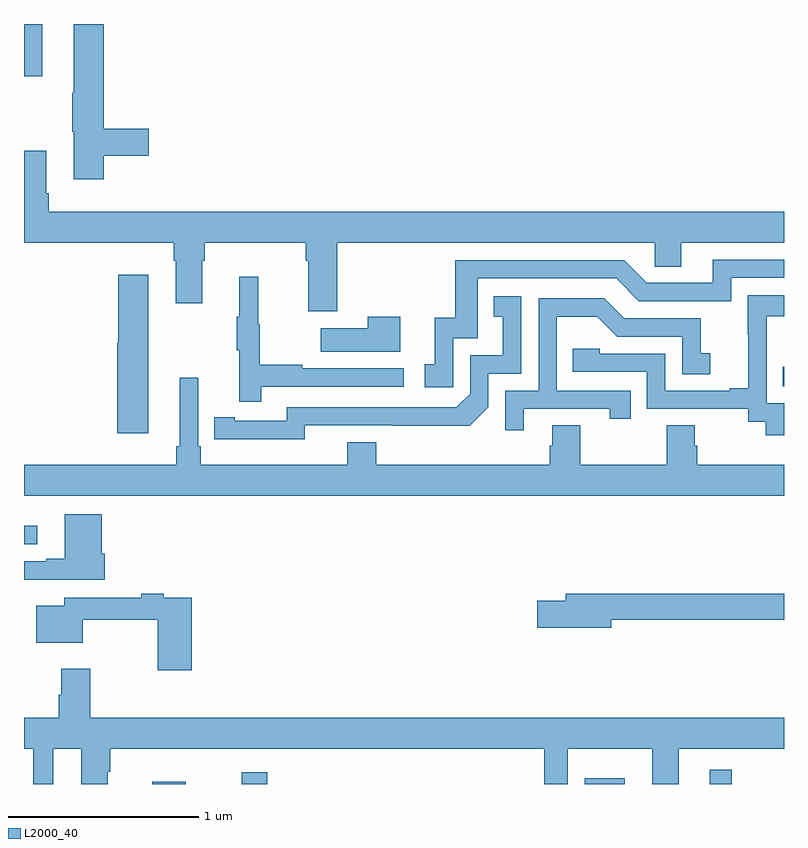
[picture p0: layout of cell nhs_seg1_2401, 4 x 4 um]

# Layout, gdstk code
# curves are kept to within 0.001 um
import gdstk
lib = gdstk.Library(unit=1e-6, precision=1e-09)
def R(c, l, rs):  # rectangles x0, y0, x1, y1
    for r in rs: c.add(gdstk.rectangle(r[:2], r[2:], *l))
def P(c, l, *ps):  # polygons
    for p in ps: c.add(gdstk.Polygon(p, *l))
L2000_40 = (2000, 40)

nhs_seg1_2401 = lib.new_cell('nhs_seg1_2401')
R(nhs_seg1_2401, L2000_40, [(241.676,566.199,241.852,566.212), (242.146,566.199,242.281,566.26), (243.95,566.199,244.162,566.23), (244.608,566.199,244.724,566.275), (241,567.462,241.069,567.559), (244.993,568.293,245,568.394), (241,569.925,241.096,570.199)])
P(nhs_seg1_2401, L2000_40, [(241.421,569.506),(241.657,569.506),(241.657,569.648),(241.421,569.648),(241.421,570.199),(241.262,570.199),(241.262,569.837),(241.255,569.837),(241.255,569.631),(241.262,569.631),(241.262,569.382),(241.421,569.382)],
  [(242.648,569.048),(244.32,569.048),(244.32,568.921),(244.459,568.921),(244.459,569.048),(245,569.048),(245,569.212),(241.13,569.212),(241.13,569.308),(241.117,569.308),(241.117,569.533),(241,569.533),(241,569.048),(241.787,569.048),(241.787,568.952),(241.799,568.952),(241.799,568.728),(241.939,568.728),(241.939,568.952),(241.952,568.952),(241.952,569.048),(242.483,569.048),(242.483,568.952),(242.495,568.952),(242.495,568.686),(242.648,568.686)],
  [(243.258,568.545),(243.387,568.545),(243.387,568.86),(244.116,568.86),(244.236,568.74),(244.722,568.74),(244.722,568.863),(245,568.863),(245,568.959),(244.625,568.959),(244.625,568.836),(244.278,568.836),(244.158,568.956),(243.271,568.956),(243.271,568.654),(243.161,568.654),(243.161,568.407),(243.108,568.407),(243.108,568.287),(243.258,568.287)],
  [(241.654,568.879),(241.496,568.879),(241.496,568.521),(241.49,568.521),(241.49,568.044),(241.654,568.044)],
  [(242.249,568.29),(242.998,568.29),(242.998,568.386),(242.465,568.386),(242.465,568.406),(242.242,568.406),(242.242,568.62),(242.234,568.62),(242.234,568.87),(242.132,568.87),(242.132,568.657),(242.121,568.657),(242.121,568.483),(242.132,568.483),(242.132,568.212),(242.249,568.212)],
  [(245,568.203),(244.908,568.203),(244.908,568.433),(244.91,568.433),(244.91,568.661),(245,568.661),(245,568.771),(244.81,568.771),(244.81,568.565),(244.811,568.565),(244.811,568.282),(244.715,568.282),(244.715,568.269),(244.374,568.269),(244.374,568.464),(244.029,568.464),(244.029,568.491),(243.889,568.491),(243.889,568.368),(244.278,568.368),(244.278,568.173),(244.812,568.173),(244.812,568.105),(244.905,568.105),(244.905,568.035),(245,568.035)],
  [(242.478,568.086),(243.346,568.085),(243.444,568.182),(243.444,568.359),(243.618,568.359),(243.618,568.765),(243.472,568.765),(243.472,568.659),(243.521,568.659),(243.521,568.455),(243.348,568.455),(243.348,568.254),(243.276,568.182),(242.382,568.182),(242.382,568.11),(242.11,568.11),(242.11,568.13),(242.002,568.13),(242.002,568.014),(242.478,568.013)],
  [(243.631,568.173),(244.082,568.173),(244.082,568.122),(244.193,568.122),(244.193,568.269),(243.804,568.269),(243.804,568.658),(244.018,568.658),(244.122,568.554),(244.464,568.554),(244.464,568.356),(244.612,568.356),(244.612,568.465),(244.563,568.465),(244.563,568.65),(244.159,568.65),(244.054,568.755),(243.708,568.755),(243.708,568.269),(243.534,568.269),(243.534,568.062),(243.631,568.062)],
  [(242.98,568.657),(242.81,568.657),(242.81,568.597),(242.561,568.597),(242.561,568.475),(242.98,568.475)],
  [(245,567.88),(244.544,567.88),(244.544,567.978),(244.531,567.978),(244.531,568.088),(244.384,568.088),(244.384,567.88),(243.927,567.88),(243.927,568.088),(243.779,568.088),(243.779,567.978),(243.767,567.978),(243.767,567.88),(242.855,567.88),(242.855,567.997),(242.702,567.997),(242.702,567.88),(241.931,567.88),(241.931,567.976),(241.917,567.976),(241.917,568.336),(241.82,568.336),(241.82,567.976),(241.801,567.976),(241.801,567.88),(241,567.88),(241,567.716),(245,567.716)],
  [(241.426,567.411),(241.408,567.411),(241.408,567.619),(241.214,567.619),(241.214,567.385),(241.118,567.385),(241.118,567.372),(241,567.372),(241,567.275),(241.426,567.275)],
  [(244.09,567.064),(245,567.064),(245,567.2),(243.851,567.2),(243.851,567.164),(243.702,567.164),(243.702,567.022),(244.09,567.022)],
  [(241.883,567.18),(241.736,567.18),(241.736,567.2),(241.616,567.2),(241.616,567.18),(241.212,567.18),(241.212,567.136),(241.064,567.136),(241.064,566.942),(241.308,566.942),(241.308,567.064),(241.705,567.064),(241.705,566.799),(241.883,566.799)],
  [(241.153,566.384),(241.301,566.384),(241.301,566.199),(241.441,566.199),(241.441,566.264),(241.454,566.264),(241.454,566.384),(243.737,566.384),(243.737,566.199),(243.862,566.199),(243.862,566.384),(244.307,566.384),(244.307,566.199),(244.447,566.199),(244.447,566.384),(245,566.384),(245,566.548),(241.349,566.548),(241.349,566.806),(241.196,566.806),(241.196,566.669),(241.184,566.669),(241.184,566.548),(241,566.548),(241,566.384),(241.049,566.384),(241.049,566.199),(241.153,566.199)])

lib.write_gds('nhs_seg1_2401.gds')
